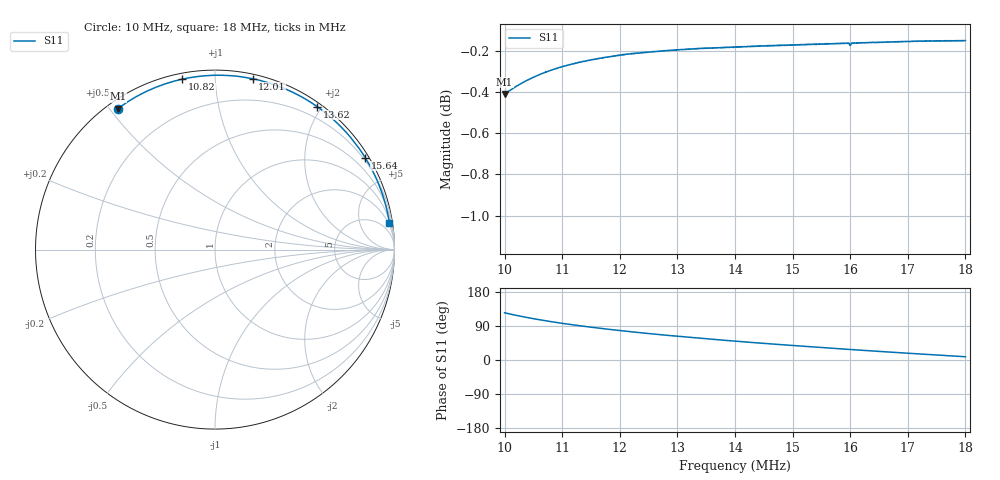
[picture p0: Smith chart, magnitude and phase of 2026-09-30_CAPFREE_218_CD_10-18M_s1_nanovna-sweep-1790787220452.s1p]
! NanoVNA Web complex sweep
! Processing: unaveraged complex samples; linear segment spacing; no smoothing
# Hz S RI R 50
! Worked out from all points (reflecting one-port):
!   1010 points, 10 MHz to 18 MHz, reference 50 ohm
!   lowest |S11| = -0.4 dB at 10 MHz (marker M1), VSWR 42.47, Z = 1.5 + j26.2 ohm
!   phase of S11 starts at 125 deg and turns -116 deg over the sweep
!   S11 on the Smith chart (normalised r, x): 10 MHz: 0.03, +0.52; 10.82 MHz: 0.03, +0.82; 12.01 MHz: 0.03, +1.24; 13.62 MHz: 0.05, +1.94; 15.64 MHz: 0.13, +3.55; 18 MHz: 2, +13
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1e7  -0.542 0.7851
1.003964e7  -0.5231 0.7987
1.012686e7  -0.482 0.8263
1.021408e7  -0.4415 0.8506
1.038852e7  -0.3628 0.8902
1.059468e7  -0.2742 0.9244
1.081669e7  -0.1842 0.9491
1.100698e7  -0.1117 0.9623
1.1229e7  -0.032 0.9701
1.147479e7  0.0503 0.9709
1.172852e7  0.1292 0.9651
1.200604e7  0.2091 0.9523
1.222805e7  0.2689 0.9381
1.249764e7  0.3362 0.9169
1.275136e7  0.3955 0.8937
1.300509e7  0.4505 0.868
1.329054e7  0.5082 0.8362
1.361562e7  0.5684 0.7971
1.400414e7  0.6334 0.7471
1.45116e7  0.708 0.6775
1.50032e7  0.7702 0.6069
1.531243e7  0.8047 0.561
1.563752e7  0.837 0.512
1.600225e7  0.868 0.4554
1.648592e7  0.9048 0.3814
1.700131e7  0.9352 0.3014
1.750876e7  0.9572 0.2225
1.800036e7  0.9719 0.1468
